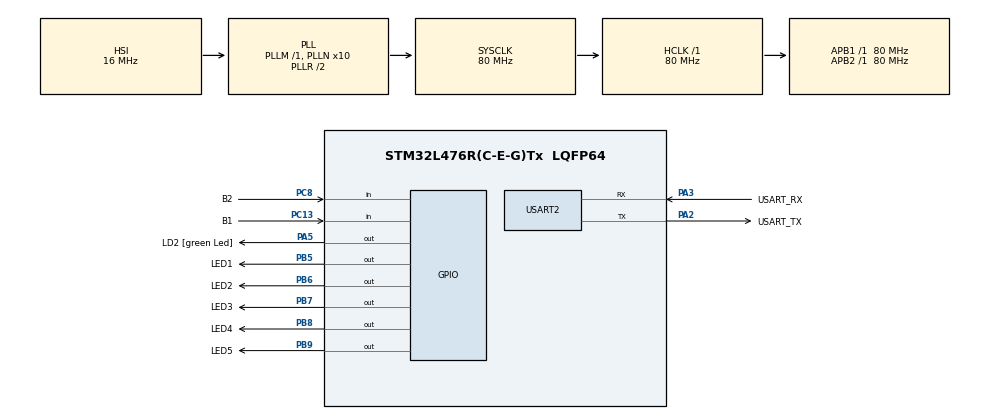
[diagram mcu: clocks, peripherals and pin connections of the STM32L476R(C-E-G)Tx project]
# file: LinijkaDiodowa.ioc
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Mcu.Family=STM32L4
Mcu.Name=STM32L476R(C-E-G)Tx
Mcu.Package=LQFP64
NVIC.PriorityGroup=NVIC_PRIORITYGROUP_4
PA13\ (JTMS-SWDIO).GPIO_Label=TMS
PA13\ (JTMS-SWDIO).Mode=Serial_Wire
PA13\ (JTMS-SWDIO).Signal=SYS_JTMS-SWDIO
PA14\ (JTCK-SWCLK).GPIO_Label=TCK
PA14\ (JTCK-SWCLK).Mode=Serial_Wire
PA14\ (JTCK-SWCLK).Signal=SYS_JTCK-SWCLK
PA2.GPIO_Label=USART_TX
PA2.GPIO_Mode=GPIO_MODE_AF_PP
PA2.GPIO_PuPd=GPIO_NOPULL
PA2.GPIO_Speed=GPIO_SPEED_FREQ_VERY_HIGH
PA2.Mode=Asynchronous
PA2.Signal=USART2_TX
PA3.GPIO_Label=USART_RX
PA3.GPIO_Mode=GPIO_MODE_AF_PP
PA3.GPIO_PuPd=GPIO_NOPULL
PA3.GPIO_Speed=GPIO_SPEED_FREQ_VERY_HIGH
PA3.Mode=Asynchronous
PA3.Signal=USART2_RX
PA5.GPIO_Label=LD2 [green Led]
PA5.GPIO_ModeDefaultOutputPP=GPIO_MODE_OUTPUT_PP
PA5.GPIO_PuPd=GPIO_NOPULL
PA5.GPIO_Speed=GPIO_SPEED_FREQ_LOW
PA5.Signal=GPIO_Output
PB3\ (JTDO-TRACESWO).GPIO_Label=SWO
PB3\ (JTDO-TRACESWO).Signal=SYS_JTDO-SWO
PB5.GPIO_Label=LED1
PB5.Signal=GPIO_Output
PB6.GPIO_Label=LED2
PB6.Signal=GPIO_Output
PB7.GPIO_Label=LED3
PB7.Signal=GPIO_Output
PB8.GPIO_Label=LED4
PB8.Signal=GPIO_Output
PB9.GPIO_Label=LED5
PB9.Signal=GPIO_Output
PC13.GPIO_Label=B1
PC13.GPIO_PuPd=GPIO_NOPULL
PC13.Signal=GPIO_Input
PC14-OSC32_IN\ (PC14).Mode=LSE-External-Oscillator
PC14-OSC32_IN\ (PC14).Signal=RCC_OSC32_IN
PC15-OSC32_OUT\ (PC15).Mode=LSE-External-Oscillator
PC15-OSC32_OUT\ (PC15).Signal=RCC_OSC32_OUT
PC8.GPIO_Label=B2
PC8.GPIO_PuPd=GPIO_PULLUP
PC8.Signal=GPIO_Input
PH0-OSC_IN\ (PH0).Signal=RCC_OSC_IN
PH1-OSC_OUT\ (PH1).Signal=RCC_OSC_OUT
ProjectManager.HeapSize=0x200
ProjectManager.StackSize=0x400
ProjectManager.TargetToolchain=STM32CubeIDE
RCC.ADCFreq_Value=64000000
RCC.AHBFreq_Value=80000000
RCC.APB1Freq_Value=80000000
RCC.APB1TimFreq_Value=80000000
RCC.APB2Freq_Value=80000000
RCC.APB2TimFreq_Value=80000000
RCC.CortexFreq_Value=80000000
RCC.HCLKFreq_Value=80000000
RCC.HSE_VALUE=8000000
RCC.HSI_VALUE=16000000
RCC.MSI_VALUE=4000000
RCC.PLLN=10
RCC.PLLSourceVirtual=RCC_PLLSOURCE_HSI
RCC.PREFETCH_ENABLE=1
RCC.SYSCLKFreq_VALUE=80000000
RCC.SYSCLKSource=RCC_SYSCLKSOURCE_PLLCLK
RCC.USBFreq_Value=64000000
RCC.VCOOutputFreq_Value=160000000
USART2.VirtualMode-Asynchronous=VM_ASYNC
board=NUCLEO-L476RG

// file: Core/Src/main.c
/* USER CODE BEGIN Header */
/**
  ******************************************************************************
  * @file           : main.c
  * @brief          : Main program body
  ******************************************************************************
  * @attention
  *
  * Copyright (c) 2023 STMicroelectronics.
  * All rights reserved.
  *
  * This software is licensed under terms that can be found in the LICENSE file
  * in the root directory of this software component.
  * If no LICENSE file comes with this software, it is provided AS-IS.
  *
  ******************************************************************************
  */
/* USER CODE END Header */
#include "main.h"

/* USER CODE BEGIN Includes */
#include <stdbool.h>
/* USER CODE END Includes */

UART_HandleTypeDef huart2;

void SystemClock_Config(void);
static void MX_GPIO_Init(void);
static void MX_USART2_UART_Init(void);

/* USER CODE BEGIN 0 */
static GPIO_TypeDef *const LED_PORT[] = {
LED1_GPIO_Port, LED2_GPIO_Port, LED3_GPIO_Port, LED4_GPIO_Port, LED5_GPIO_Port };
static const uint16_t LED_PIN[] = {
LED1_Pin, LED2_Pin, LED3_Pin, LED4_Pin, LED5_Pin };
void led_set(int led, bool turn_on) {
	GPIO_PinState state;

	if (turn_on == true) {
		state = GPIO_PIN_SET;
	} else {
		state = GPIO_PIN_RESET;
	}
	if (led >= 0 && led < 5) {
		HAL_GPIO_WritePin(LED1_GPIO_Port, LED1_Pin << led, state);
	}
}
void led_set2(int led, bool turn_on){
	GPIO_PinState state = (turn_on) ? GPIO_PIN_SET:GPIO_PIN_RESET;
	if (led >= 0 && led < 5) {
	HAL_GPIO_WritePin(LED_PORT[led], LED_PIN[led], state);
	}
}
bool is_button_pressed(int button) {
	switch (button) {
	case 0:
		if (HAL_GPIO_ReadPin(B1_GPIO_Port, B1_Pin) == GPIO_PIN_RESET) {
			return true;
		} else {
			return false;
		}
		break;
	case 1:
		if (HAL_GPIO_ReadPin(B2_GPIO_Port, B2_Pin) == GPIO_PIN_RESET) {
			return true;
		} else {
			return false;
		}
		break;
	default:
		return false;
	}
}
/* USER CODE END 0 */

int main(void)
{

  /* MCU Configuration--------------------------------------------------------*/

  /* Reset of all peripherals, Initializes the Flash interface and the Systick. */
  HAL_Init();

  /* Configure the system clock */
  SystemClock_Config();

  /* Initialize all configured peripherals */
  MX_GPIO_Init();
  MX_USART2_UART_Init();
  /* USER CODE BEGIN 2 */
	int led = 0;
  /* USER CODE END 2 */

  /* Infinite loop */
  /* USER CODE BEGIN WHILE */
	while (1) {
		/*for (int i = 0; i < 5; i++) {
			HAL_GPIO_WritePin(LED1_GPIO_Port, LED1_Pin << i, GPIO_PIN_SET);
			HAL_Delay(200);
			HAL_GPIO_WritePin(LED1_GPIO_Port, LED1_Pin << i, GPIO_PIN_RESET);
		}*/
		//Zabezpieczona linijka diodowa na porty
		/*for(int i=0; i < 5; i++){
			led_set2(i,true);
			HAL_Delay(100);
			led_set2(i, false);
			HAL_Delay(100);
		}*/
		if (is_button_pressed(0) == true) {
			led_set2(led, false);
			led++;
			if (led >= 5) {
				led = 0;
			}
			led_set2(led, true);
			while (is_button_pressed(0)) {
			}
		}
		if (is_button_pressed(1) == true) {
			led_set2(led, false);
			led--;
			if (led < 0) {
				led = 4;
			}
			led_set2(led, true);
			HAL_Delay(20);
			while (is_button_pressed(1)) {
			}
		}

    /* USER CODE END WHILE */

  }
}

void SystemClock_Config(void)
{
  RCC_OscInitTypeDef RCC_OscInitStruct = {0};
  RCC_ClkInitTypeDef RCC_ClkInitStruct = {0};

  /** Configure the main internal regulator output voltage
  */
  if (HAL_PWREx_ControlVoltageScaling(PWR_REGULATOR_VOLTAGE_SCALE1) != HAL_OK)
  {
    Error_Handler();
  }

  /** Initializes the RCC Oscillators according to the specified parameters
  * in the RCC_OscInitTypeDef structure.
  */
  RCC_OscInitStruct.OscillatorType = RCC_OSCILLATORTYPE_HSI;
  RCC_OscInitStruct.HSIState = RCC_HSI_ON;
  RCC_OscInitStruct.HSICalibrationValue = RCC_HSICALIBRATION_DEFAULT;
  RCC_OscInitStruct.PLL.PLLState = RCC_PLL_ON;
  RCC_OscInitStruct.PLL.PLLSource = RCC_PLLSOURCE_HSI;
  RCC_OscInitStruct.PLL.PLLM = 1;
  RCC_OscInitStruct.PLL.PLLN = 10;
  RCC_OscInitStruct.PLL.PLLP = RCC_PLLP_DIV7;
  RCC_OscInitStruct.PLL.PLLQ = RCC_PLLQ_DIV2;
  RCC_OscInitStruct.PLL.PLLR = RCC_PLLR_DIV2;
  if (HAL_RCC_OscConfig(&RCC_OscInitStruct) != HAL_OK)
  {
    Error_Handler();
  }

  /** Initializes the CPU, AHB and APB buses clocks
  */
  RCC_ClkInitStruct.ClockType = RCC_CLOCKTYPE_HCLK|RCC_CLOCKTYPE_SYSCLK
                              |RCC_CLOCKTYPE_PCLK1|RCC_CLOCKTYPE_PCLK2;
  RCC_ClkInitStruct.SYSCLKSource = RCC_SYSCLKSOURCE_PLLCLK;
  RCC_ClkInitStruct.AHBCLKDivider = RCC_SYSCLK_DIV1;
  RCC_ClkInitStruct.APB1CLKDivider = RCC_HCLK_DIV1;
  RCC_ClkInitStruct.APB2CLKDivider = RCC_HCLK_DIV1;

  if (HAL_RCC_ClockConfig(&RCC_ClkInitStruct, FLASH_LATENCY_4) != HAL_OK)
  {
    Error_Handler();
  }
}

static void MX_USART2_UART_Init(void)
{

  huart2.Instance = USART2;
  huart2.Init.BaudRate = 115200;
  huart2.Init.WordLength = UART_WORDLENGTH_8B;
  huart2.Init.StopBits = UART_STOPBITS_1;
  huart2.Init.Parity = UART_PARITY_NONE;
  huart2.Init.Mode = UART_MODE_TX_RX;
  huart2.Init.HwFlowCtl = UART_HWCONTROL_NONE;
  huart2.Init.OverSampling = UART_OVERSAMPLING_16;
  huart2.Init.OneBitSampling = UART_ONE_BIT_SAMPLE_DISABLE;
  huart2.AdvancedInit.AdvFeatureInit = UART_ADVFEATURE_NO_INIT;
  if (HAL_UART_Init(&huart2) != HAL_OK)
  {
    Error_Handler();
  }

}

static void MX_GPIO_Init(void)
{
  GPIO_InitTypeDef GPIO_InitStruct = {0};

  /* GPIO Ports Clock Enable */
  __HAL_RCC_GPIOC_CLK_ENABLE();
  __HAL_RCC_GPIOH_CLK_ENABLE();
  __HAL_RCC_GPIOA_CLK_ENABLE();
  __HAL_RCC_GPIOB_CLK_ENABLE();

  /*Configure GPIO pin Output Level */
  HAL_GPIO_WritePin(LD2_GPIO_Port, LD2_Pin, GPIO_PIN_RESET);

  /*Configure GPIO pin Output Level */
  HAL_GPIO_WritePin(GPIOB, LED1_Pin|LED2_Pin|LED3_Pin|LED4_Pin
                          |LED5_Pin, GPIO_PIN_RESET);

  /*Configure GPIO pin : B1_Pin */
  GPIO_InitStruct.Pin = B1_Pin;
  GPIO_InitStruct.Mode = GPIO_MODE_INPUT;
  GPIO_InitStruct.Pull = GPIO_NOPULL;
  HAL_GPIO_Init(B1_GPIO_Port, &GPIO_InitStruct);

  /*Configure GPIO pin : LD2_Pin */
  GPIO_InitStruct.Pin = LD2_Pin;
  GPIO_InitStruct.Mode = GPIO_MODE_OUTPUT_PP;
  GPIO_InitStruct.Pull = GPIO_NOPULL;
  GPIO_InitStruct.Speed = GPIO_SPEED_FREQ_LOW;
  HAL_GPIO_Init(LD2_GPIO_Port, &GPIO_InitStruct);

  /*Configure GPIO pin : B2_Pin */
  GPIO_InitStruct.Pin = B2_Pin;
  GPIO_InitStruct.Mode = GPIO_MODE_INPUT;
  GPIO_InitStruct.Pull = GPIO_PULLUP;
  HAL_GPIO_Init(B2_GPIO_Port, &GPIO_InitStruct);

  /*Configure GPIO pins : LED1_Pin LED2_Pin LED3_Pin LED4_Pin
                           LED5_Pin */
  GPIO_InitStruct.Pin = LED1_Pin|LED2_Pin|LED3_Pin|LED4_Pin
                          |LED5_Pin;
  GPIO_InitStruct.Mode = GPIO_MODE_OUTPUT_PP;
  GPIO_InitStruct.Pull = GPIO_NOPULL;
  GPIO_InitStruct.Speed = GPIO_SPEED_FREQ_LOW;
  HAL_GPIO_Init(GPIOB, &GPIO_InitStruct);

}

void Error_Handler(void)
{
  __disable_irq();
  while (1)
  {
  }
}
